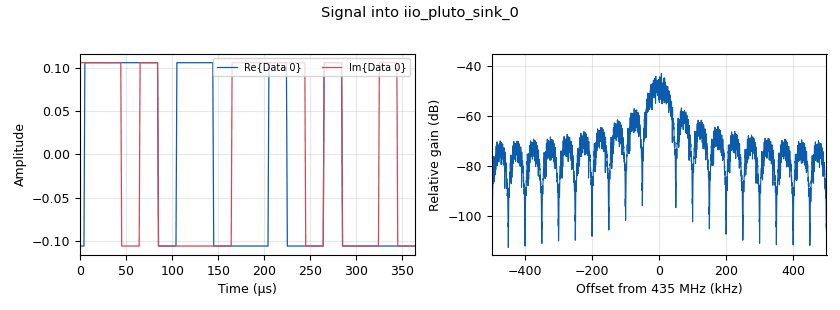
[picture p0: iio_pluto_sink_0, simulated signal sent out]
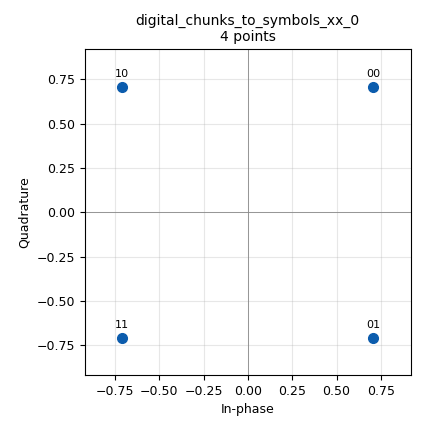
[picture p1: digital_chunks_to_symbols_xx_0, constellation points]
options:
  parameters:
    author: DJ2RF
    category: '[Pluto TX/RX Digital]'
    comment: QPSK TX->RX loopback. USE ATTENUATOR ONLY.
    description: Generate QPSK baseband, transmit via Pluto, receive via Pluto, show constellation.
    generate_options: qt_gui
    id: qpsk_tx_rx_loopback
    output_language: python
    title: QPSK TX/RX Loopback (Pluto) – ATTENUATOR ONLY
  states: {}

blocks:
- name: f0
  id: variable
  parameters:
    value: '435000000'
  states: {}
- name: rx_gain
  id: variable
  parameters:
    value: '40'
  states: {}
- name: samp_rate
  id: variable
  parameters:
    value: '1000000'
  states: {}
- name: sps
  id: variable
  parameters:
    value: int(samp_rate/sym_rate)
  states: {}
- name: sym_offset
  id: variable
  parameters:
    value: int(sps/2)
  states: {}
- name: sym_rate
  id: variable
  parameters:
    value: '50000'
  states: {}
- name: tx_atten
  id: variable
  parameters:
    value: '40'
  states: {}
- name: analog_random_source_x_0
  id: analog_random_source_x
  parameters:
    max: '4'
    min: '0'
    num_samps: '1000'
    repeat: 'True'
    type: int
  states: {}
- name: blocks_keep_one_in_n_0
  id: blocks_keep_one_in_n
  parameters:
    n: sps
    type: complex
  states: {}
- name: blocks_multiply_const_vxx_0
  id: blocks_multiply_const_vxx
  parameters:
    const: '0.15'
    type: complex
  states: {}
- name: blocks_repeat_0
  id: blocks_repeat
  parameters:
    interp: sps
    type: complex
  states: {}
- name: digital_chunks_to_symbols_xx_0
  id: digital_chunks_to_symbols_xx
  parameters:
    dimension: '1'
    in_type: int
    out_type: complex
    symbol_table: '[0.707+0.707j, 0.707-0.707j, -0.707+0.707j, -0.707-0.707j]'
  states: {}
- name: digital_costas_loop_cc_0
  id: digital_costas_loop_cc
  parameters:
    order: '4'
    w: '0.02'
  states: {}
- name: iio_pluto_sink_0
  id: iio_pluto_sink
  parameters:
    attenuation1: '10.0'
    bandwidth: samp_rate
    buffer_size: '32768'
    cyclic: 'False'
    filter_source: '''Auto'''
    frequency: f0
    samplerate: samp_rate
    type: fc32
    uri: ip:pluto.local
  states: {}
- name: iio_pluto_source_0
  id: iio_pluto_source
  parameters:
    bandwidth: samp_rate
    bbdc: 'True'
    buffer_size: '32768'
    filter_source: '''Auto'''
    frequency: f0
    gain1: '''manual'''
    manual_gain1: rx_gain
    quadrature: 'True'
    rfdc: 'True'
    samplerate: samp_rate
    type: fc32
    uri: ip:pluto.local
  states: {}
- name: qtgui_const_sink_x_0
  id: qtgui_const_sink_x
  parameters:
    autoscale: 'True'
    grid: 'True'
    label1: QPSK Constellation (RX)
    size: '4096'
    type: complex
  states: {}
- name: qtgui_freq_sink_x_0
  id: qtgui_freq_sink_x
  parameters:
    bw: samp_rate
    fc: f0
    fftsize: '2048'
    label: RX Spectrum (Loopback)
    type: complex
  states: {}

connections:
- [analog_random_source_x_0, '0', digital_chunks_to_symbols_xx_0, '0']
- [blocks_keep_one_in_n_0, '0', digital_costas_loop_cc_0, '0']
- [blocks_multiply_const_vxx_0, '0', iio_pluto_sink_0, '0']
- [blocks_repeat_0, '0', blocks_multiply_const_vxx_0, '0']
- [digital_chunks_to_symbols_xx_0, '0', blocks_repeat_0, '0']
- [digital_costas_loop_cc_0, '0', qtgui_const_sink_x_0, '0']
- [iio_pluto_source_0, '0', blocks_keep_one_in_n_0, '0']
- [iio_pluto_source_0, '0', qtgui_freq_sink_x_0, '0']

metadata:
  file_format: 1
  grc_version: 3.10.9.2
